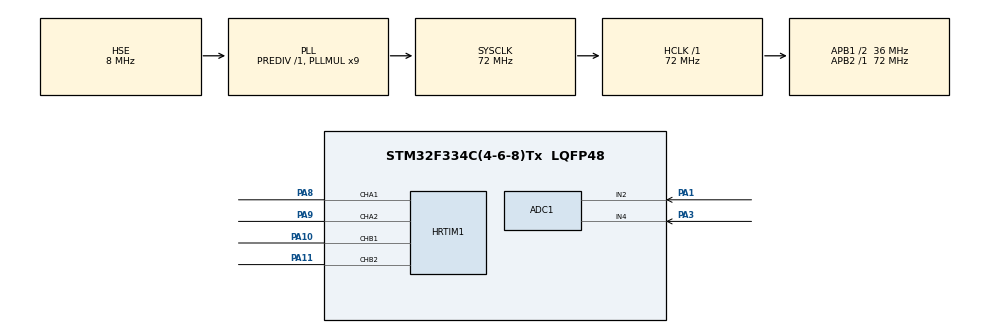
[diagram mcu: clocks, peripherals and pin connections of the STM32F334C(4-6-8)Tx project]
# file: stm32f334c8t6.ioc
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Mcu.Family=STM32F3
RCC.CortexFreq_Value=72000000
PF0\ /\ OSC_IN.Mode=HSE-External-Clock-Source
PA11.Mode=Output_TB1TB2
HRTIM1.FallingValue-Output_TB1TB2=90
ProjectManager.StackSize=0x400
ADC1.InjectedOffset-4\#ChannelInjectedConversion=0
HRTIM1.SetOutput1_Source1-Output_TA1TA2=HRTIM_OUTPUTSET_TIMPER
HRTIM1.NumberResetSource1-Output_TA1TA2=1
Mcu.UserConstants=mainHRTIM_PERIOD,18432
HRTIM1.RepetitionUpdate-Output_TA1TA2=HRTIM_UPDATEONREPETITION_ENABLED
FREERTOS.configUSE_STATS_FORMATTING_FUNCTIONS=1
HRTIM1.RisingValue-Output_TB1TB2=90
RCC.HCLKFreq_Value=72000000
RCC.APB2TimFreq_Value=72000000
HRTIM1.ResetOutput1_Source1-Output_TA1TA2=HRTIM_OUTPUTRESET_TIMCMP1
ADC1.InjNumberOfConversion=2
ADC1.SubFamily=STM32F334x8
RCC.AHBFreq_Value=72000000
HRTIM1.ORingUpdateSource_ADCTrigger2=HRTIM_ADCTRIGGERUPDATE_TIMER_A
ADC1.ExternalTrigInjecConv=ADC_EXTERNALTRIGINJECCONV_HRTIM_TRG2
RCC.HSE_VALUE=8000000
PB3.Mode=Trace_Asynchronous_SW
RCC.PLLMUL=RCC_PLL_MUL9
HRTIM1.NumberSetSource1-Output_TA1TA2=1
PA14.Mode=Trace_Asynchronous_SW
VP_SYS_VS_tim1.Mode=TIM1
PA8.Signal=HRTIM1_CHA1
ADC1.InjectedConvMode=None
ADC1.InjectedSamplingTime-5\#ChannelInjectedConversion=ADC_SAMPLETIME_19CYCLES_5
VP_FREERTOS_VS_CMSIS_V1.Mode=CMSIS_V1
ADC1.InjectedOffsetNumber-5\#ChannelInjectedConversion=ADC_OFFSET_NONE
NVIC.HRTIM1_TIMA_IRQn=true\:5\:0\:false\:false\:true\:true\:true\:true
ADC1.InjectedChannel-5\#ChannelInjectedConversion=ADC_CHANNEL_4
HRTIM1.DeadTimeInsertion-Output_TA1TA2=HRTIM_TIMDEADTIMEINSERTION_ENABLED
HRTIM1.RepetitionCounter-Output_TA1TA2=25
Mcu.Package=LQFP48
NVIC.TimeBase=TIM1_UP_TIM16_IRQn
HRTIM1.CaptureUnit2-Output_TA1TA2=__NULL
HRTIM1.ResetOutput1_Source1-Output_TB1TB2=HRTIM_OUTPUTRESET_TIMCMP2
NVIC.TimeBaseIP=TIM1
PA10.Signal=HRTIM1_CHB1
ADC1.InjectedSamplingTime-4\#ChannelInjectedConversion=ADC_SAMPLETIME_7CYCLES_5
HRTIM1.NumberADCTriggerSource2=1
RCC.APB1TimFreq_Value=72000000
FREERTOS.configGENERATE_RUN_TIME_STATS=1
HRTIM1.DeadTimeInsertion-Output_TB1TB2=HRTIM_TIMDEADTIMEINSERTION_ENABLED
ADC1.QueueInjectedContext=DISABLE
ADC1.EOCSelection=ADC_EOC_SEQ_CONV
PA3.Signal=ADC1_IN4
ADC1.ExternalTrigInjecConvEdge=ADC_EXTERNALTRIGINJECCONV_EDGE_RISING
HRTIM1.RepetitionCounter-Output_TB1TB2=25
RCC.PLLSourceVirtual=RCC_PLLSOURCE_HSE
HRTIM1.CompareUnit1-Output_TB1TB2=__NULL
FREERTOS.Tasks01=xComTask,0,256,vComTask,Default,NULL,Dynamic,NULL,NULL;xDcDcTask,0,256,vDcDcTask,Default,NULL,Dynamic,NULL,NULL
PA10.Mode=Output_TB1TB2
HRTIM1.NumberSetSource1-Output_TB1TB2=1
ADC1.InjectedRank-4\#ChannelInjectedConversion=1
HRTIM1.ADCTrigger2_Source1=HRTIM_ADCTRIGGEREVENT24_TIMERA_CMP4
ADC1.InjectedChannel-4\#ChannelInjectedConversion=ADC_CHANNEL_2
ADC1.DiscontinuousConvMode=DISABLE
HRTIM1.NumberInterruptRequests-Output_TA1TA2=1
ADC1.InjectedOffsetNumber-4\#ChannelInjectedConversion=ADC_OFFSET_NONE
RCC.APB1CLKDivider=RCC_HCLK_DIV2
HRTIM1.SetOutput1_Source1-Output_TB1TB2=HRTIM_OUTPUTSET_TIMPER
PA13.Signal=SYS_JTMS-SWDIO
PA3.Mode=IN4-Single-Ended
PA9.Mode=Output_TA1TA2
ADC1.InjectedOffset-5\#ChannelInjectedConversion=0
FREERTOS.configRECORD_STACK_HIGH_ADDRESS=0
ProjectManager.TargetToolchain=STM32CubeIDE
FREERTOS.configUSE_TRACE_FACILITY=1
PA9.Signal=HRTIM1_CHA2
HRTIM1.CompareValue4-Output_TA1TA2=mainHRTIM_PERIOD*3/4
HRTIM1.CompareUnit4-Output_TA1TA2=HRTIM_COMPAREUNIT_4
RCC.LSE_VALUE=32768
PA1.Signal=ADC1_IN2
HRTIM1.InterruptRequests1-Output_TB1TB2=HRTIM_TIM_IT_REP
HRTIM1.ADCTrigger_Id2=HRTIM_ADCTRIGGER_2
board=custom
RCC.APB2Freq_Value=72000000
PA1.Mode=IN2-Single-Ended
PF0\ /\ OSC_IN.Signal=RCC_OSC_IN
HRTIM1.CompareUnit1-Output_TA1TA2=HRTIM_COMPAREUNIT_1
HRTIM1.NumberInterruptRequests-Output_TB1TB2=1
HRTIM1.CompareUnit2-Output_TB1TB2=HRTIM_COMPAREUNIT_2
PA13.Mode=Trace_Asynchronous_SW
ADC1.InjectedRank-5\#ChannelInjectedConversion=2
Mcu.Name=STM32F334C(4-6-8)Tx
HRTIM1.NumberResetTrigger-Output_TA1TA2=0
PB3.Signal=SYS_JTDO-TRACESWO
RCC.SYSCLKFreq_VALUE=72000000
ADC1.master=1
HRTIM1.NumberResetSource1-Output_TB1TB2=1
HRTIM1.InterruptRequests1-Output_TA1TA2=HRTIM_TIM_IT_REP
HRTIM1.FallingValue-Output_TA1TA2=90
PA11.Signal=HRTIM1_CHB2
HRTIM1.RisingValue-Output_TA1TA2=90
PA14.Signal=SYS_JTCK-SWCLK
ProjectManager.HeapSize=0x200
HRTIM1.CompareValue2-Output_TB1TB2=mainHRTIM_PERIOD/2
RCC.HSI_VALUE=8000000
NVIC.TIM1_UP_TIM16_IRQn=true\:0\:0\:false\:false\:true\:false\:false\:true
NVIC.PriorityGroup=NVIC_PRIORITYGROUP_4
HRTIM1.CompareValue1-Output_TA1TA2=mainHRTIM_PERIOD/2
RCC.HRTIMSelection=RCC_HRTIM1CLK_PLLCLK
ADC1.EnableRegularConversion=DISABLE
PA8.Mode=Output_TA1TA2
HRTIM1.RepetitionUpdate-Output_TB1TB2=HRTIM_UPDATEONREPETITION_ENABLED
RCC.APB1Freq_Value=36000000
ADC1.ClockPrescaler=ADC_CLOCK_ASYNC_DIV1
HRTIM1.Periode_TA=mainHRTIM_PERIOD
HRTIM1.Periode_TB=mainHRTIM_PERIOD

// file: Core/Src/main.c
/* USER CODE BEGIN Header */
/**
 ******************************************************************************
 * @file           : main.c
 * @brief          : Main program body
 ******************************************************************************
 * @attention
 *
 * <h2><center>&copy; Copyright (c) 2021 STMicroelectronics.
 * All rights reserved.</center></h2>
 *
 * This software component is licensed by ST under BSD 3-Clause license,
 * the "License"; You may not use this file except in compliance with the
 * License. You may obtain a copy of the License at:
 *                        opensource.org/licenses/BSD-3-Clause
 *
 ******************************************************************************
 */
/* USER CODE END Header */
#include "main.h"
#include "cmsis_os.h"

/* USER CODE BEGIN Includes */

#include "dc_dc.h"
#include "adc.h"

/* USER CODE END Includes */

ADC_HandleTypeDef hadc1;

HRTIM_HandleTypeDef hhrtim1;

osThreadId xComTaskHandle;
osThreadId xDcDcTaskHandle;
/* USER CODE BEGIN PV */

static uint32_t ulVinRaw;
static uint32_t ulVoutRaw;
static uint32_t ulVinPhys;
static uint32_t ulVoutPhys;

/* USER CODE END PV */

void SystemClock_Config(void);
static void MX_GPIO_Init(void);
static void MX_HRTIM1_Init(void);
static void MX_ADC1_Init(void);
void vComTask(void const *argument);
void vDcDcTask(void const *argument);

int main(void)
{

    /* MCU Configuration--------------------------------------------------------*/

    /* Reset of all peripherals, Initializes the Flash interface and the Systick. */
    HAL_Init();

    /* Configure the system clock */
    SystemClock_Config();

    /* Initialize all configured peripherals */
    MX_GPIO_Init();
    MX_HRTIM1_Init();
    MX_ADC1_Init();

    /* Create the thread(s) */
    /* definition and creation of xComTask */
    osThreadDef(xComTask, vComTask, osPriorityNormal, 0, 256);
    xComTaskHandle = osThreadCreate(osThread(xComTask), NULL);

    /* definition and creation of xDcDcTask */
    osThreadDef(xDcDcTask, vDcDcTask, osPriorityNormal, 0, 256);
    xDcDcTaskHandle = osThreadCreate(osThread(xDcDcTask), NULL);

    /* Start scheduler */
    osKernelStart();

    /* We should never get here as control is now taken by the scheduler */
    /* Infinite loop */
    while (1)
    {

    }
}

void SystemClock_Config(void)
{
    RCC_OscInitTypeDef RCC_OscInitStruct = { 0 };
    RCC_ClkInitTypeDef RCC_ClkInitStruct = { 0 };
    RCC_PeriphCLKInitTypeDef PeriphClkInit = { 0 };

    /** Initializes the RCC Oscillators according to the specified parameters
     * in the RCC_OscInitTypeDef structure.
     */
    RCC_OscInitStruct.OscillatorType = RCC_OSCILLATORTYPE_HSE;
    RCC_OscInitStruct.HSEState = RCC_HSE_BYPASS;
    RCC_OscInitStruct.HSEPredivValue = RCC_HSE_PREDIV_DIV1;
    RCC_OscInitStruct.HSIState = RCC_HSI_ON;
    RCC_OscInitStruct.PLL.PLLState = RCC_PLL_ON;
    RCC_OscInitStruct.PLL.PLLSource = RCC_PLLSOURCE_HSE;
    RCC_OscInitStruct.PLL.PLLMUL = RCC_PLL_MUL9;
    if (HAL_RCC_OscConfig(&RCC_OscInitStruct) != HAL_OK)
    {
        Error_Handler();
    }
    /** Initializes the CPU, AHB and APB buses clocks
     */
    RCC_ClkInitStruct.ClockType = RCC_CLOCKTYPE_HCLK | RCC_CLOCKTYPE_SYSCLK | RCC_CLOCKTYPE_PCLK1 | RCC_CLOCKTYPE_PCLK2;
    RCC_ClkInitStruct.SYSCLKSource = RCC_SYSCLKSOURCE_PLLCLK;
    RCC_ClkInitStruct.AHBCLKDivider = RCC_SYSCLK_DIV1;
    RCC_ClkInitStruct.APB1CLKDivider = RCC_HCLK_DIV2;
    RCC_ClkInitStruct.APB2CLKDivider = RCC_HCLK_DIV1;

    if (HAL_RCC_ClockConfig(&RCC_ClkInitStruct, FLASH_LATENCY_2) != HAL_OK)
    {
        Error_Handler();
    }
    PeriphClkInit.PeriphClockSelection = RCC_PERIPHCLK_HRTIM1 | RCC_PERIPHCLK_ADC12;
    PeriphClkInit.Adc12ClockSelection = RCC_ADC12PLLCLK_DIV1;
    PeriphClkInit.Hrtim1ClockSelection = RCC_HRTIM1CLK_PLLCLK;
    if (HAL_RCCEx_PeriphCLKConfig(&PeriphClkInit) != HAL_OK)
    {
        Error_Handler();
    }
}

static void MX_ADC1_Init(void)
{

    ADC_MultiModeTypeDef multimode = { 0 };
    ADC_InjectionConfTypeDef sConfigInjected = { 0 };

    /** Common config
     */
    hadc1.Instance = ADC1;
    hadc1.Init.ClockPrescaler = ADC_CLOCK_ASYNC_DIV1;
    hadc1.Init.Resolution = ADC_RESOLUTION_12B;
    hadc1.Init.ScanConvMode = ADC_SCAN_ENABLE;
    hadc1.Init.ContinuousConvMode = DISABLE;
    hadc1.Init.DiscontinuousConvMode = DISABLE;
    hadc1.Init.DataAlign = ADC_DATAALIGN_RIGHT;
    hadc1.Init.NbrOfConversion = 1;
    hadc1.Init.DMAContinuousRequests = DISABLE;
    hadc1.Init.EOCSelection = ADC_EOC_SEQ_CONV;
    hadc1.Init.LowPowerAutoWait = DISABLE;
    hadc1.Init.Overrun = ADC_OVR_DATA_OVERWRITTEN;
    if (HAL_ADC_Init(&hadc1) != HAL_OK)
    {
        Error_Handler();
    }
    /** Configure the ADC multi-mode
     */
    multimode.Mode = ADC_MODE_INDEPENDENT;
    if (HAL_ADCEx_MultiModeConfigChannel(&hadc1, &multimode) != HAL_OK)
    {
        Error_Handler();
    }
    /** Configure Injected Channel
     */
    sConfigInjected.InjectedChannel = ADC_CHANNEL_2;
    sConfigInjected.InjectedRank = ADC_INJECTED_RANK_1;
    sConfigInjected.InjectedSingleDiff = ADC_SINGLE_ENDED;
    sConfigInjected.InjectedNbrOfConversion = 2;
    sConfigInjected.InjectedSamplingTime = ADC_SAMPLETIME_7CYCLES_5;
    sConfigInjected.ExternalTrigInjecConvEdge = ADC_EXTERNALTRIGINJECCONV_EDGE_RISING;
    sConfigInjected.ExternalTrigInjecConv = ADC_EXTERNALTRIGINJECCONV_HRTIM_TRG2;
    sConfigInjected.AutoInjectedConv = DISABLE;
    sConfigInjected.InjectedDiscontinuousConvMode = DISABLE;
    sConfigInjected.QueueInjectedContext = DISABLE;
    sConfigInjected.InjectedOffset = 0;
    sConfigInjected.InjectedOffsetNumber = ADC_OFFSET_NONE;
    if (HAL_ADCEx_InjectedConfigChannel(&hadc1, &sConfigInjected) != HAL_OK)
    {
        Error_Handler();
    }
    /** Configure Injected Channel
     */
    sConfigInjected.InjectedChannel = ADC_CHANNEL_4;
    sConfigInjected.InjectedRank = ADC_INJECTED_RANK_2;
    sConfigInjected.InjectedSamplingTime = ADC_SAMPLETIME_19CYCLES_5;
    if (HAL_ADCEx_InjectedConfigChannel(&hadc1, &sConfigInjected) != HAL_OK)
    {
        Error_Handler();
    }

}

static void MX_HRTIM1_Init(void)
{

    HRTIM_ADCTriggerCfgTypeDef pADCTriggerCfg = { 0 };
    HRTIM_TimeBaseCfgTypeDef pTimeBaseCfg = { 0 };
    HRTIM_TimerCfgTypeDef pTimerCfg = { 0 };
    HRTIM_CompareCfgTypeDef pCompareCfg = { 0 };
    HRTIM_DeadTimeCfgTypeDef pDeadTimeCfg = { 0 };
    HRTIM_OutputCfgTypeDef pOutputCfg = { 0 };

    hhrtim1.Instance = HRTIM1;
    hhrtim1.Init.HRTIMInterruptResquests = HRTIM_IT_NONE;
    hhrtim1.Init.SyncOptions = HRTIM_SYNCOPTION_NONE;
    if (HAL_HRTIM_Init(&hhrtim1) != HAL_OK)
    {
        Error_Handler();
    }
    if (HAL_HRTIM_DLLCalibrationStart(&hhrtim1, HRTIM_CALIBRATIONRATE_14) != HAL_OK)
    {
        Error_Handler();
    }
    if (HAL_HRTIM_PollForDLLCalibration(&hhrtim1, 10) != HAL_OK)
    {
        Error_Handler();
    }
    pADCTriggerCfg.UpdateSource = HRTIM_ADCTRIGGERUPDATE_TIMER_A;
    pADCTriggerCfg.Trigger = HRTIM_ADCTRIGGEREVENT24_TIMERA_CMP4;
    if (HAL_HRTIM_ADCTriggerConfig(&hhrtim1, HRTIM_ADCTRIGGER_2, &pADCTriggerCfg) != HAL_OK)
    {
        Error_Handler();
    }
    pTimeBaseCfg.Period = mainHRTIM_PERIOD;
    pTimeBaseCfg.RepetitionCounter = 25;
    pTimeBaseCfg.PrescalerRatio = HRTIM_PRESCALERRATIO_MUL32;
    pTimeBaseCfg.Mode = HRTIM_MODE_CONTINUOUS;
    if (HAL_HRTIM_TimeBaseConfig(&hhrtim1, HRTIM_TIMERINDEX_TIMER_A, &pTimeBaseCfg) != HAL_OK)
    {
        Error_Handler();
    }
    pTimerCfg.InterruptRequests = HRTIM_TIM_IT_REP;
    pTimerCfg.DMARequests = HRTIM_TIM_DMA_NONE;
    pTimerCfg.DMASrcAddress = 0x0000;
    pTimerCfg.DMADstAddress = 0x0000;
    pTimerCfg.DMASize = 0x1;
    pTimerCfg.HalfModeEnable = HRTIM_HALFMODE_DISABLED;
    pTimerCfg.StartOnSync = HRTIM_SYNCSTART_DISABLED;
    pTimerCfg.ResetOnSync = HRTIM_SYNCRESET_DISABLED;
    pTimerCfg.DACSynchro = HRTIM_DACSYNC_NONE;
    pTimerCfg.PreloadEnable = HRTIM_PRELOAD_DISABLED;
    pTimerCfg.UpdateGating = HRTIM_UPDATEGATING_INDEPENDENT;
    pTimerCfg.BurstMode = HRTIM_TIMERBURSTMODE_MAINTAINCLOCK;
    pTimerCfg.RepetitionUpdate = HRTIM_UPDATEONREPETITION_ENABLED;
    pTimerCfg.PushPull = HRTIM_TIMPUSHPULLMODE_DISABLED;
    pTimerCfg.FaultEnable = HRTIM_TIMFAULTENABLE_NONE;
    pTimerCfg.FaultLock = HRTIM_TIMFAULTLOCK_READWRITE;
    pTimerCfg.DeadTimeInsertion = HRTIM_TIMDEADTIMEINSERTION_ENABLED;
    pTimerCfg.DelayedProtectionMode = HRTIM_TIMER_A_B_C_DELAYEDPROTECTION_DISABLED;
    pTimerCfg.UpdateTrigger = HRTIM_TIMUPDATETRIGGER_NONE;
    pTimerCfg.ResetTrigger = HRTIM_TIMRESETTRIGGER_NONE;
    pTimerCfg.ResetUpdate = HRTIM_TIMUPDATEONRESET_DISABLED;
    if (HAL_HRTIM_WaveformTimerConfig(&hhrtim1, HRTIM_TIMERINDEX_TIMER_A, &pTimerCfg) != HAL_OK)
    {
        Error_Handler();
    }
    if (HAL_HRTIM_WaveformTimerConfig(&hhrtim1, HRTIM_TIMERINDEX_TIMER_B, &pTimerCfg) != HAL_OK)
    {
        Error_Handler();
    }
    pCompareCfg.CompareValue = mainHRTIM_PERIOD / 2;
    if (HAL_HRTIM_WaveformCompareConfig(&hhrtim1, HRTIM_TIMERINDEX_TIMER_A, HRTIM_COMPAREUNIT_1, &pCompareCfg) != HAL_OK)
    {
        Error_Handler();
    }
    pCompareCfg.AutoDelayedMode = HRTIM_AUTODELAYEDMODE_REGULAR;
    pCompareCfg.AutoDelayedTimeout = 0x0000;

    if (HAL_HRTIM_WaveformCompareConfig(&hhrtim1, HRTIM_TIMERINDEX_TIMER_B, HRTIM_COMPAREUNIT_2, &pCompareCfg) != HAL_OK)
    {
        Error_Handler();
    }
    pCompareCfg.CompareValue = mainHRTIM_PERIOD * 3 / 4;

    if (HAL_HRTIM_WaveformCompareConfig(&hhrtim1, HRTIM_TIMERINDEX_TIMER_A, HRTIM_COMPAREUNIT_4, &pCompareCfg) != HAL_OK)
    {
        Error_Handler();
    }
    pDeadTimeCfg.Prescaler = HRTIM_TIMDEADTIME_PRESCALERRATIO_MUL8;
    pDeadTimeCfg.RisingValue = 90;
    pDeadTimeCfg.RisingSign = HRTIM_TIMDEADTIME_RISINGSIGN_POSITIVE;
    pDeadTimeCfg.RisingLock = HRTIM_TIMDEADTIME_RISINGLOCK_WRITE;
    pDeadTimeCfg.RisingSignLock = HRTIM_TIMDEADTIME_RISINGSIGNLOCK_WRITE;
    pDeadTimeCfg.FallingValue = 90;
    pDeadTimeCfg.FallingSign = HRTIM_TIMDEADTIME_FALLINGSIGN_POSITIVE;
    pDeadTimeCfg.FallingLock = HRTIM_TIMDEADTIME_FALLINGLOCK_WRITE;
    pDeadTimeCfg.FallingSignLock = HRTIM_TIMDEADTIME_FALLINGSIGNLOCK_WRITE;
    if (HAL_HRTIM_DeadTimeConfig(&hhrtim1, HRTIM_TIMERINDEX_TIMER_A, &pDeadTimeCfg) != HAL_OK)
    {
        Error_Handler();
    }
    if (HAL_HRTIM_DeadTimeConfig(&hhrtim1, HRTIM_TIMERINDEX_TIMER_B, &pDeadTimeCfg) != HAL_OK)
    {
        Error_Handler();
    }
    pOutputCfg.Polarity = HRTIM_OUTPUTPOLARITY_HIGH;
    pOutputCfg.SetSource = HRTIM_OUTPUTSET_TIMPER;
    pOutputCfg.ResetSource = HRTIM_OUTPUTRESET_TIMCMP1;
    pOutputCfg.IdleMode = HRTIM_OUTPUTIDLEMODE_NONE;
    pOutputCfg.IdleLevel = HRTIM_OUTPUTIDLELEVEL_INACTIVE;
    pOutputCfg.FaultLevel = HRTIM_OUTPUTFAULTLEVEL_NONE;
    pOutputCfg.ChopperModeEnable = HRTIM_OUTPUTCHOPPERMODE_DISABLED;
    pOutputCfg.BurstModeEntryDelayed = HRTIM_OUTPUTBURSTMODEENTRY_REGULAR;
    if (HAL_HRTIM_WaveformOutputConfig(&hhrtim1, HRTIM_TIMERINDEX_TIMER_A, HRTIM_OUTPUT_TA1, &pOutputCfg) != HAL_OK)
    {
        Error_Handler();
    }
    pOutputCfg.ResetSource = HRTIM_OUTPUTRESET_TIMCMP2;
    if (HAL_HRTIM_WaveformOutputConfig(&hhrtim1, HRTIM_TIMERINDEX_TIMER_B, HRTIM_OUTPUT_TB1, &pOutputCfg) != HAL_OK)
    {
        Error_Handler();
    }
    pOutputCfg.SetSource = HRTIM_OUTPUTSET_NONE;
    pOutputCfg.ResetSource = HRTIM_OUTPUTRESET_NONE;
    if (HAL_HRTIM_WaveformOutputConfig(&hhrtim1, HRTIM_TIMERINDEX_TIMER_A, HRTIM_OUTPUT_TA2, &pOutputCfg) != HAL_OK)
    {
        Error_Handler();
    }
    if (HAL_HRTIM_WaveformOutputConfig(&hhrtim1, HRTIM_TIMERINDEX_TIMER_B, HRTIM_OUTPUT_TB2, &pOutputCfg) != HAL_OK)
    {
        Error_Handler();
    }
    if (HAL_HRTIM_TimeBaseConfig(&hhrtim1, HRTIM_TIMERINDEX_TIMER_B, &pTimeBaseCfg) != HAL_OK)
    {
        Error_Handler();
    }
    HAL_HRTIM_MspPostInit(&hhrtim1);

}

static void MX_GPIO_Init(void)
{

    /* GPIO Ports Clock Enable */
    __HAL_RCC_GPIOF_CLK_ENABLE();
    __HAL_RCC_GPIOA_CLK_ENABLE();
    __HAL_RCC_GPIOB_CLK_ENABLE();

}

void vComTask(void const *argument)
{
    /* USER CODE BEGIN 5 */

    uint32_t ulThreadNotification;

    for (;;)
    {
        ulThreadNotification = ulTaskNotifyTake(pdTRUE, portMAX_DELAY);

        if (ulThreadNotification)
        {

        }
    }

    /* USER CODE END 5 */
}

void vDcDcTask(void const *argument)
{
    /* USER CODE BEGIN vDcDcTask */

    uint32_t ulThreadNotification;

    vSetDutyCycleBuck(5000u);
    vSetAdcTriggerPoint(2500u);

    HAL_HRTIM_WaveformOutputStart(&hhrtim1, HRTIM_OUTPUT_TA1 | HRTIM_OUTPUT_TA2 | HRTIM_OUTPUT_TB1 | HRTIM_OUTPUT_TB2);
    HAL_HRTIM_WaveformCountStart_IT(&hhrtim1, HRTIM_TIMERID_TIMER_A | HRTIM_TIMERID_TIMER_B);

    HAL_ADCEx_Calibration_Start(&hadc1, ADC_SINGLE_ENDED);
    HAL_ADCEx_InjectedStart_IT(&hadc1);

    for (;;)
    {
        ulThreadNotification = ulTaskNotifyTake(pdTRUE, portMAX_DELAY);

        if (ulThreadNotification)
        {
            ulVinRaw = HAL_ADCEx_InjectedGetValue(&hadc1, ADC_INJECTED_RANK_1);
            ulVoutRaw = HAL_ADCEx_InjectedGetValue(&hadc1, ADC_INJECTED_RANK_2);

            ulVinPhys = ulVinRawToPhys(ulVinRaw);
            ulVoutPhys = ulVoutRawToPhys(ulVoutRaw);

//            vDcDcControl(ulVoutPhys, 5000u);
        }
    }

    /* USER CODE END vDcDcTask */
}

void HAL_TIM_PeriodElapsedCallback(TIM_HandleTypeDef *htim)
{
    if (htim->Instance == TIM1)
    {
        HAL_IncTick();
    }
}

void Error_Handler(void)
{
    __disable_irq();
    while (1)
    {
    }
}

/************************ (C) COPYRIGHT STMicroelectronics *****END OF FILE****/

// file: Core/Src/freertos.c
/* USER CODE BEGIN Header */
/**
  ******************************************************************************
  * File Name          : freertos.c
  * Description        : Code for freertos applications
  ******************************************************************************
  * @attention
  *
  * <h2><center>&copy; Copyright (c) 2021 STMicroelectronics.
  * All rights reserved.</center></h2>
  *
  * This software component is licensed by ST under Ultimate Liberty license
  * SLA0044, the "License"; You may not use this file except in compliance with
  * the License. You may obtain a copy of the License at:
  *                             www.st.com/SLA0044
  *
  ******************************************************************************
  */
/* USER CODE END Header */

#include "FreeRTOS.h"
#include "task.h"
#include "main.h"

/* GetIdleTaskMemory prototype (linked to static allocation support) */
void vApplicationGetIdleTaskMemory( StaticTask_t **ppxIdleTaskTCBBuffer, StackType_t **ppxIdleTaskStackBuffer, uint32_t *pulIdleTaskStackSize );

/* Hook prototypes */
void configureTimerForRunTimeStats(void);
unsigned long getRunTimeCounterValue(void);

/* USER CODE BEGIN 1 */
/* Functions needed when configGENERATE_RUN_TIME_STATS is on */
__weak void configureTimerForRunTimeStats(void)
{

}

__weak unsigned long getRunTimeCounterValue(void)
{
return 0;
}
/* USER CODE END 1 */

/* USER CODE BEGIN GET_IDLE_TASK_MEMORY */
static StaticTask_t xIdleTaskTCBBuffer;
static StackType_t xIdleStack[configMINIMAL_STACK_SIZE];

void vApplicationGetIdleTaskMemory( StaticTask_t **ppxIdleTaskTCBBuffer, StackType_t **ppxIdleTaskStackBuffer, uint32_t *pulIdleTaskStackSize )
{
  *ppxIdleTaskTCBBuffer = &xIdleTaskTCBBuffer;
  *ppxIdleTaskStackBuffer = &xIdleStack[0];
  *pulIdleTaskStackSize = configMINIMAL_STACK_SIZE;
  /* place for user code */
}
/* USER CODE END GET_IDLE_TASK_MEMORY */

/************************ (C) COPYRIGHT STMicroelectronics *****END OF FILE****/
